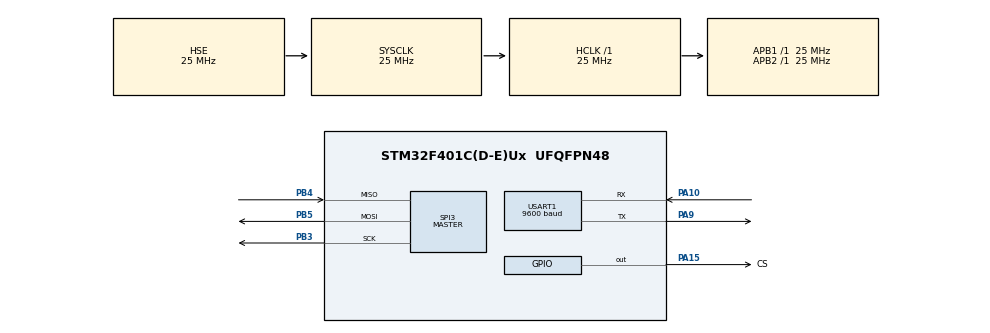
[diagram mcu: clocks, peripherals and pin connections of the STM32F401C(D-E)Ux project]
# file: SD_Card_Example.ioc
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FATFS._MAX_SS=4096
FATFS._USE_LFN=1
Mcu.Family=STM32F4
Mcu.Name=STM32F401C(D-E)Ux
Mcu.Package=UFQFPN48
NVIC.PriorityGroup=NVIC_PRIORITYGROUP_4
PA10.Mode=Asynchronous
PA10.Signal=USART1_RX
PA15.GPIO_Label=CS
PA15.Signal=GPIO_Output
PA9.Mode=Asynchronous
PA9.Signal=USART1_TX
PB3.Mode=Full_Duplex_Master
PB3.Signal=SPI3_SCK
PB4.Mode=Full_Duplex_Master
PB4.Signal=SPI3_MISO
PB5.Mode=Full_Duplex_Master
PB5.Signal=SPI3_MOSI
PH0\ -\ OSC_IN.Mode=HSE-External-Oscillator
PH0\ -\ OSC_IN.Signal=RCC_OSC_IN
PH1\ -\ OSC_OUT.Mode=HSE-External-Oscillator
PH1\ -\ OSC_OUT.Signal=RCC_OSC_OUT
ProjectManager.HeapSize=0x200
ProjectManager.StackSize=0x400
ProjectManager.TargetToolchain=STM32CubeIDE
RCC.48MHZClocksFreq_Value=48000000
RCC.AHBFreq_Value=25000000
RCC.APB1Freq_Value=25000000
RCC.APB1TimFreq_Value=25000000
RCC.APB2Freq_Value=25000000
RCC.APB2TimFreq_Value=25000000
RCC.CortexFreq_Value=25000000
RCC.EnbaleCSS=true
RCC.HCLKFreq_Value=25000000
RCC.HSE_VALUE=25000000
RCC.HSI_VALUE=16000000
RCC.LSE_VALUE=32768
RCC.SYSCLKFreq_VALUE=25000000
RCC.SYSCLKSource=RCC_SYSCLKSOURCE_HSE
RCC.VCOOutputFreq_Value=192000000
SPI3.Direction=SPI_DIRECTION_2LINES
SPI3.Mode=SPI_MODE_MASTER
SPI3.VirtualType=VM_MASTER
USART1.BaudRate=9600
USART1.VirtualMode=VM_ASYNC
VP_FATFS_VS_Generic.Mode=User_defined
board=custom

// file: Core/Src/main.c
/* USER CODE BEGIN Header */
/**
  ******************************************************************************
  * @file           : main.c
  * @brief          : Main program body
  ******************************************************************************
  * @attention
  *
  * Copyright (c) 2024 STMicroelectronics.
  * All rights reserved.
  *
  * This software is licensed under terms that can be found in the LICENSE file
  * in the root directory of this software component.
  * If no LICENSE file comes with this software, it is provided AS-IS.
  *
  ******************************************************************************
  */
/* USER CODE END Header */
#include "main.h"
#include "fatfs.h"

/* USER CODE BEGIN Includes */
#include "fatfs_sd.h"
#include "string.h"
/* USER CODE END Includes */

SPI_HandleTypeDef hspi3;

UART_HandleTypeDef huart1;

void SystemClock_Config(void);
static void MX_GPIO_Init(void);
static void MX_SPI3_Init(void);
static void MX_USART1_UART_Init(void);

/* USER CODE BEGIN 0 */
FATFS fs;		// file system
FIL file; 		// file
FRESULT res; 	// result

char buffer[1024];
UINT br, bw;	// file read/write count

/* Capacity related variables */
FATFS *pfs;
DWORD fre_clust;
uint32_t total, free_space;

/* Function for sending Uart Data */
void send_uart(char* string)
{
	uint8_t len = strlen(string);
	HAL_UART_Transmit(&huart1, (uint8_t *)string, len, 2000);
}

/* USER CODE END 0 */

int main(void)
{

  /* MCU Configuration--------------------------------------------------------*/

  /* Reset of all peripherals, Initializes the Flash interface and the Systick. */
  HAL_Init();

  /* Configure the system clock */
  SystemClock_Config();

  /* Initialize all configured peripherals */
  MX_GPIO_Init();
  MX_SPI3_Init();
  MX_USART1_UART_Init();
  MX_FATFS_Init();
  /* USER CODE BEGIN 2 */

  /* Mounting the SD CARD*/
  res = f_mount(&fs, "", 0);
  if(res != FR_OK)
	  send_uart("error in mounting SD Card \n");
  else
	  send_uart("SD Card mounted successfully \n");

  /* Open file, write data and close it */
  res = f_open(&file, "file10.txt", FA_OPEN_ALWAYS | FA_READ | FA_WRITE);
  if(res != FR_OK)	send_uart("failed to open \n");
  else	send_uart("file opened successfully \n");

  res = f_puts("This data in the file that is caled file1 bla bla\n", &file);
  if(res != FR_OK)	send_uart("failed to write the data \n");
  else	send_uart("data written successfully \n");

  res = f_close(&file);
  if(res != FR_OK)	send_uart("failed to close the file \n");
  else	send_uart("file closed successfully \n");

  send_uart("File written and closed\n");

  /* Open file, read data and close it*/
  res = f_open(&file, "file10.txt", FA_READ);
  if(res != FR_OK)	send_uart("failed to open \n");
  else	send_uart("file opened successfully \n");

  uint8_t l = strlen("This data in the file that is caled file1 bla bla\n");
  f_gets(buffer, l, &file);
  send_uart(buffer);

  res = f_close(&file);
  if(res != FR_OK)	send_uart("failed to close the file \n");
  else	send_uart("file closed successfully \n");
  /* USER CODE END 2 */

  /* Infinite loop */
  /* USER CODE BEGIN WHILE */
  while (1)
  {
	//send_uart("Hello World\n");
	HAL_Delay(1000);
    /* USER CODE END WHILE */

  }
}

void SystemClock_Config(void)
{
  RCC_OscInitTypeDef RCC_OscInitStruct = {0};
  RCC_ClkInitTypeDef RCC_ClkInitStruct = {0};

  /** Configure the main internal regulator output voltage
  */
  __HAL_RCC_PWR_CLK_ENABLE();
  __HAL_PWR_VOLTAGESCALING_CONFIG(PWR_REGULATOR_VOLTAGE_SCALE2);

  /** Initializes the RCC Oscillators according to the specified parameters
  * in the RCC_OscInitTypeDef structure.
  */
  RCC_OscInitStruct.OscillatorType = RCC_OSCILLATORTYPE_HSE;
  RCC_OscInitStruct.HSEState = RCC_HSE_ON;
  RCC_OscInitStruct.PLL.PLLState = RCC_PLL_NONE;
  if (HAL_RCC_OscConfig(&RCC_OscInitStruct) != HAL_OK)
  {
    Error_Handler();
  }

  /** Initializes the CPU, AHB and APB buses clocks
  */
  RCC_ClkInitStruct.ClockType = RCC_CLOCKTYPE_HCLK|RCC_CLOCKTYPE_SYSCLK
                              |RCC_CLOCKTYPE_PCLK1|RCC_CLOCKTYPE_PCLK2;
  RCC_ClkInitStruct.SYSCLKSource = RCC_SYSCLKSOURCE_HSE;
  RCC_ClkInitStruct.AHBCLKDivider = RCC_SYSCLK_DIV1;
  RCC_ClkInitStruct.APB1CLKDivider = RCC_HCLK_DIV1;
  RCC_ClkInitStruct.APB2CLKDivider = RCC_HCLK_DIV1;

  if (HAL_RCC_ClockConfig(&RCC_ClkInitStruct, FLASH_LATENCY_0) != HAL_OK)
  {
    Error_Handler();
  }

  /** Enables the Clock Security System
  */
  HAL_RCC_EnableCSS();
}

static void MX_SPI3_Init(void)
{

  /* SPI3 parameter configuration*/
  hspi3.Instance = SPI3;
  hspi3.Init.Mode = SPI_MODE_MASTER;
  hspi3.Init.Direction = SPI_DIRECTION_2LINES;
  hspi3.Init.DataSize = SPI_DATASIZE_8BIT;
  hspi3.Init.CLKPolarity = SPI_POLARITY_LOW;
  hspi3.Init.CLKPhase = SPI_PHASE_1EDGE;
  hspi3.Init.NSS = SPI_NSS_SOFT;
  hspi3.Init.BaudRatePrescaler = SPI_BAUDRATEPRESCALER_2;
  hspi3.Init.FirstBit = SPI_FIRSTBIT_MSB;
  hspi3.Init.TIMode = SPI_TIMODE_DISABLE;
  hspi3.Init.CRCCalculation = SPI_CRCCALCULATION_DISABLE;
  hspi3.Init.CRCPolynomial = 10;
  if (HAL_SPI_Init(&hspi3) != HAL_OK)
  {
    Error_Handler();
  }

}

static void MX_USART1_UART_Init(void)
{

  huart1.Instance = USART1;
  huart1.Init.BaudRate = 9600;
  huart1.Init.WordLength = UART_WORDLENGTH_8B;
  huart1.Init.StopBits = UART_STOPBITS_1;
  huart1.Init.Parity = UART_PARITY_NONE;
  huart1.Init.Mode = UART_MODE_TX_RX;
  huart1.Init.HwFlowCtl = UART_HWCONTROL_NONE;
  huart1.Init.OverSampling = UART_OVERSAMPLING_16;
  if (HAL_UART_Init(&huart1) != HAL_OK)
  {
    Error_Handler();
  }

}

static void MX_GPIO_Init(void)
{
  GPIO_InitTypeDef GPIO_InitStruct = {0};

  /* GPIO Ports Clock Enable */
  __HAL_RCC_GPIOH_CLK_ENABLE();
  __HAL_RCC_GPIOA_CLK_ENABLE();
  __HAL_RCC_GPIOB_CLK_ENABLE();

  /*Configure GPIO pin Output Level */
  HAL_GPIO_WritePin(CS_GPIO_Port, CS_Pin, GPIO_PIN_RESET);

  /*Configure GPIO pin : CS_Pin */
  GPIO_InitStruct.Pin = CS_Pin;
  GPIO_InitStruct.Mode = GPIO_MODE_OUTPUT_PP;
  GPIO_InitStruct.Pull = GPIO_NOPULL;
  GPIO_InitStruct.Speed = GPIO_SPEED_FREQ_LOW;
  HAL_GPIO_Init(CS_GPIO_Port, &GPIO_InitStruct);

}

void Error_Handler(void)
{
  __disable_irq();
  while (1)
  {
  }
}
